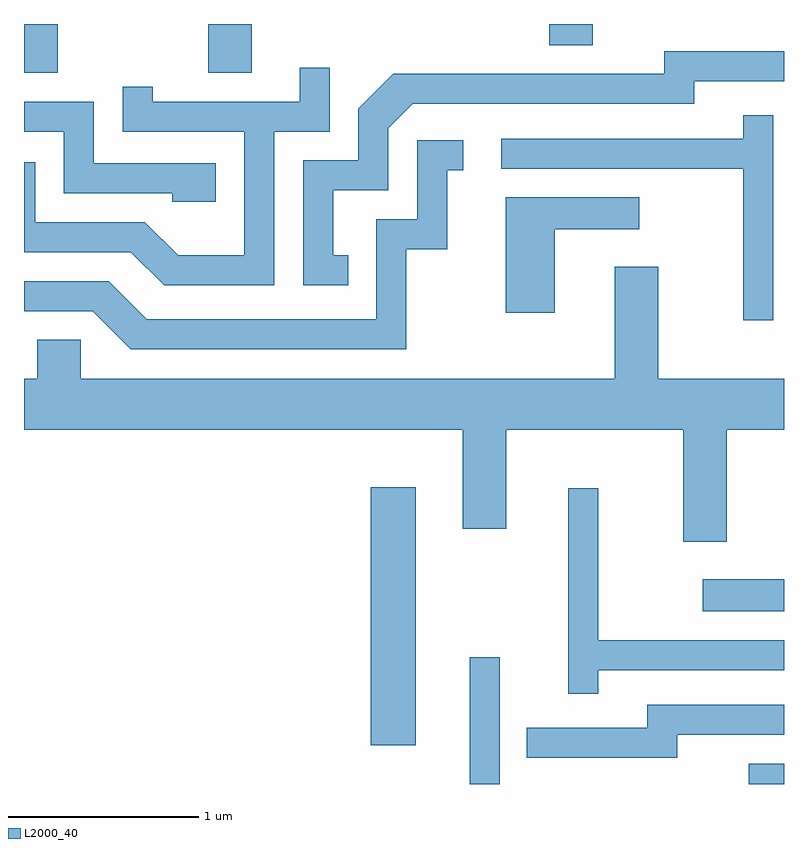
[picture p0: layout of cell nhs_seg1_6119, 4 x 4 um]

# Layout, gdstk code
import gdstk
lib = gdstk.Library(unit=1e-6, precision=1e-09)
def R(c, l, rs):  # rectangles x0, y0, x1, y1
    for r in rs: c.add(gdstk.rectangle(r[:2], r[2:], *l))
def P(c, l, *ps):  # polygons
    for p in ps: c.add(gdstk.Polygon(p, *l))
L2000_40 = (2000, 40)

nhs_seg1_6119 = lib.new_cell('nhs_seg1_6119')
R(nhs_seg1_6119, L2000_40, [(371.956,897.712,372.114,898.378), (373.426,897.712,373.611,897.819), (371.436,897.916,371.674,899.274), (373.183,898.621,373.611,898.789), (369.611,901.456,369.789,901.712), (370.581,901.456,370.809,901.712), (372.376,901.601,372.604,901.712)])
P(nhs_seg1_6119, L2000_40, [(371.318,900.494),(371.239,900.494),(371.239,900.836),(371.529,900.836),(371.529,901.164),(371.657,901.291),(373.139,901.291),(373.139,901.411),(373.611,901.411),(373.611,901.569),(372.981,901.569),(372.981,901.449),(371.554,901.449),(371.371,901.267),(371.371,900.994),(371.081,900.994),(371.081,900.336),(371.318,900.336)],
  [(370.929,901.146),(371.219,901.146),(371.219,901.483),(371.061,901.483),(371.061,901.304),(370.289,901.304),(370.289,901.383),(370.131,901.383),(370.131,901.146),(370.771,901.146),(370.771,900.494),(370.422,900.494),(370.247,900.669),(369.669,900.669),(369.669,900.984),(369.611,900.984),(369.611,900.511),(370.174,900.511),(370.349,900.336),(370.929,900.336)],
  [(370.619,900.979),(369.979,900.979),(369.979,901.304),(369.611,901.304),(369.611,901.146),(369.821,901.146),(369.821,900.821),(370.391,900.821),(370.391,900.776),(370.619,900.776)],
  [(373.554,901.233),(373.396,901.233),(373.396,901.109),(372.123,901.109),(372.123,900.951),(373.396,900.951),(373.396,900.153),(373.554,900.153)],
  [(371.624,900.526),(371.839,900.526),(371.839,900.941),(371.923,900.941),(371.923,901.099),(371.681,901.099),(371.681,900.684),(371.466,900.684),(371.466,900.159),(370.257,900.159),(370.057,900.359),(369.611,900.359),(369.611,900.201),(369.974,900.201),(370.174,900.001),(371.624,900.001)],
  [(372.404,900.631),(372.848,900.631),(372.848,900.799),(372.146,900.799),(372.146,900.191),(372.404,900.191)],
  [(373.309,899.576),(373.611,899.576),(373.611,899.844),(372.949,899.844),(372.949,900.434),(372.721,900.434),(372.721,899.844),(369.909,899.844),(369.909,900.049),(369.681,900.049),(369.681,899.844),(369.611,899.844),(369.611,899.576),(371.921,899.576),(371.921,899.056),(372.149,899.056),(372.149,899.576),(373.081,899.576),(373.081,898.986),(373.309,898.986)],
  [(372.634,898.311),(373.611,898.311),(373.611,898.469),(372.634,898.469),(372.634,899.268),(372.476,899.268),(372.476,898.188),(372.634,898.188)],
  [(373.049,897.971),(373.611,897.971),(373.611,898.129),(372.891,898.129),(372.891,898.009),(372.258,898.009),(372.258,897.851),(373.049,897.851)])

lib.write_gds('nhs_seg1_6119.gds')
